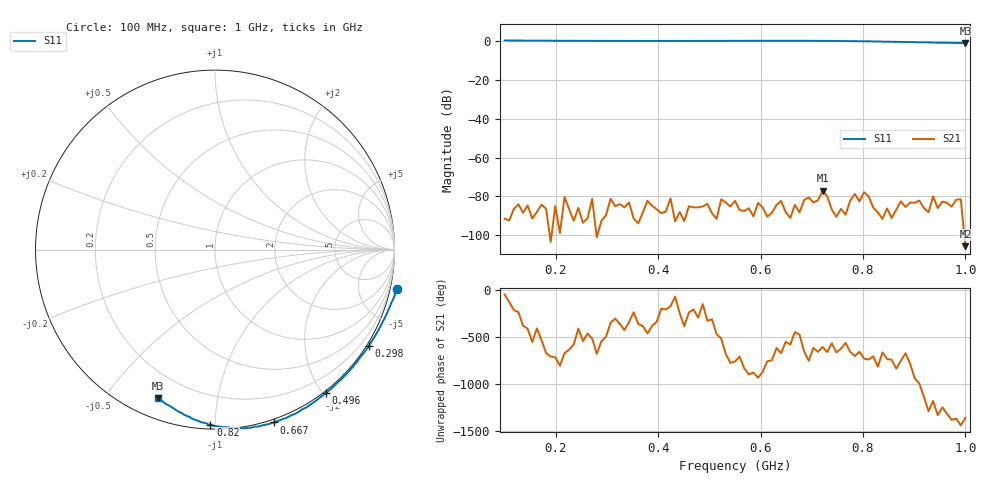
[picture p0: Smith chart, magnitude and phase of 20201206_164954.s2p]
# HZ S RI R 50
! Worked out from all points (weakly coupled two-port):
!   101 points, 100 MHz to 1 GHz, reference 50 ohm
!   highest |S21| = -77.12 dB at 721 MHz (marker M1); lowest = -105.6 dB at 1 GHz (marker M2)
!   lowest |S11| = -1.0 dB at 1 GHz (marker M3), VSWR 16.61, Z = 4.42 - j34.2 ohm
!   |S11| at or under -10 dB: nowhere
!   S12 and S22 are empty: the file has one direction only
!   S11 on the Smith chart (normalised r, x): 100 MHz: -1.52, -9.09; 298 MHz: -0.07, -3.49; 496 MHz: -0.03, -2.04; 667 MHz: -0.02, -1.39; 820 MHz: 0.02, -0.97; 1 GHz: 0.09, -0.68
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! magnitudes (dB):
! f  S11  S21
! 100 MHz  0.3  -91.5
! 145 MHz  0.2  -84.6
! 253 MHz  0.1  -93.6
! 298 MHz  0.1  -89.7
! 406 MHz  0.1  -88.6
! 496 MHz  0.1  -83.8
! 550 MHz  0.1  -82.4
! 667 MHz  0.1  -84.4
! 703 MHz  0.1  -83.1
! 712 MHz  0.1  -82.1
! 721 MHz  0.1  -77.1
! 730 MHz  0.1  -79.9
! 739 MHz  0.1  -86.7
! 775 MHz  0.0  -82.2
! 784 MHz  -0.1  -78.7
! 793 MHz  -0.1  -82.6
! 802 MHz  -0.1  -77.9
! 811 MHz  -0.1  -79.9
! 820 MHz  -0.2  -85.7
! 856 MHz  -0.4  -91.1
! 910 MHz  -0.6  -82.2
! 1 GHz  -1.0  -105.6
